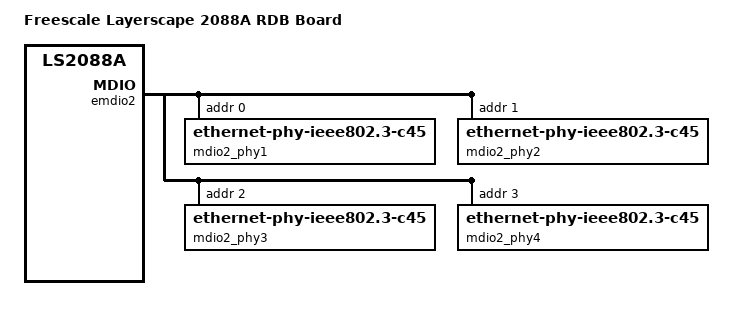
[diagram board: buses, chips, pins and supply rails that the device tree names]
// SPDX-License-Identifier: (GPL-2.0+ OR MIT)
/*
 * Device Tree file for Freescale LS2088A RDB Board.
 *
 * Copyright 2016 Freescale Semiconductor, Inc.
 * Copyright 2017 NXP
 *
 * Abhimanyu Saini <abhimanyu.saini@nxp.com>
 *
 */

/dts-v1/;

#include "fsl-ls2088a.dtsi"
#include "fsl-ls208xa-rdb.dtsi"

/ {
	model = "Freescale Layerscape 2088A RDB Board";
	compatible = "fsl,ls2088a-rdb", "fsl,ls2088a";

	chosen {
		stdout-path = "serial1:115200n8";
	};
};

&emdio1 {
	status = "disabled";
	/* CS4340 PHYs */
	mdio1_phy1: emdio1_phy@1 {
		reg = <0x10>;
		phy-connection-type = "xfi";
	};
	mdio1_phy2: emdio1_phy@2 {
		reg = <0x11>;
		phy-connection-type = "xfi";
	};
	mdio1_phy3: emdio1_phy@3 {
		reg = <0x12>;
		phy-connection-type = "xfi";
	};
	mdio1_phy4: emdio1_phy@4 {
		reg = <0x13>;
		phy-connection-type = "xfi";
	};
};

&emdio2 {
	/* AQR405 PHYs */
	mdio2_phy1: emdio2_phy@1 {
		compatible = "ethernet-phy-ieee802.3-c45";
		interrupts = <0 1 0x4>; /* Level high type */
		reg = <0x0>;
		phy-connection-type = "xfi";
	};
	mdio2_phy2: emdio2_phy@2 {
		compatible = "ethernet-phy-ieee802.3-c45";
		interrupts = <0 2 0x4>; /* Level high type */
		reg = <0x1>;
		phy-connection-type = "xfi";
	};
	mdio2_phy3: emdio2_phy@3 {
		compatible = "ethernet-phy-ieee802.3-c45";
		interrupts = <0 4 0x4>; /* Level high type */
		reg = <0x2>;
		phy-connection-type = "xfi";
	};
	mdio2_phy4: emdio2_phy@4 {
		compatible = "ethernet-phy-ieee802.3-c45";
		interrupts = <0 5 0x4>; /* Level high type */
		reg = <0x3>;
		phy-connection-type = "xfi";
	};
};

/* Update DPMAC connections to external PHYs, under the assumption of
 * SerDes 0x2a_0x41. This is currently the only SerDes supported on the board.
 */
/* Leave Cortina PHYs commented out until proper driver is integrated
 *&dpmac1 {
 *	phy-handle = <&mdio1_phy1>;
 *};
 *&dpmac2 {
 *	phy-handle = <&mdio1_phy2>;
 *};
 *&dpmac3 {
 *	phy-handle = <&mdio1_phy3>;
 *};
 *&dpmac4 {
 *	phy-handle = <&mdio1_phy4>;
 *};
 */

&dpmac5 {
	phy-handle = <&mdio2_phy1>;
};
&dpmac6 {
	phy-handle = <&mdio2_phy2>;
};
&dpmac7 {
	phy-handle = <&mdio2_phy3>;
};
&dpmac8 {
	phy-handle = <&mdio2_phy4>;
};
